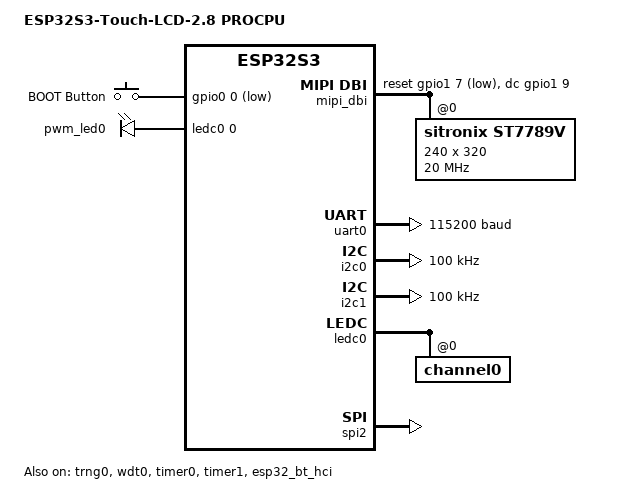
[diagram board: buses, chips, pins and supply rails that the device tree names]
/*
 * Copyright (c) 2025 Harry Jiang
 * SPDX-License-Identifier: Apache-2.0
 */

/dts-v1/;

#include <espressif/esp32s3/esp32s3_r8.dtsi>
#include "esp32s3_touch_lcd_2_8-pinctrl.dtsi"
#include <zephyr/dt-bindings/display/panel.h>
#include <zephyr/dt-bindings/input/input-event-codes.h>
#include <zephyr/dt-bindings/pwm/pwm.h>
#include <espressif/partitions_0x0_amp_16M.dtsi>

/ {
	model = "ESP32S3-Touch-LCD-2.8 PROCPU";
	compatible = "waveshare,esp32s3-touch-lcd-2.8";

	aliases {
		i2c-0 = &i2c0;
		i2c-1 = &i2c1;
		pwm-0 = &ledc0;
		pwm-led0 = &pwm_led0;
		uart-0 = &uart0;
		watchdog0 = &wdt0;
		sw0 = &button0;
	};

	chosen {
		zephyr,sram = &sram1;
		zephyr,console = &uart0;
		zephyr,shell-uart = &uart0;
		zephyr,flash = &flash0;
		zephyr,code-partition = &slot0_partition;
		zephyr,display = &st7789v;
		zephyr,bt-hci = &esp32_bt_hci;
	};

	buttons {
		compatible = "gpio-keys";
		button0: button_0 {
			gpios = <&gpio0 0 (GPIO_PULL_UP | GPIO_ACTIVE_LOW)>;
			label = "BOOT Button";
			zephyr,code = <INPUT_KEY_0>;
		};
	};

	pwmleds {
		compatible = "pwm-leds";
		pwm_led0: pwm_led0 {
			pwms = <&ledc0 0 PWM_HZ(250) PWM_POLARITY_NORMAL>;
		};
	};

	mipi_dbi {
		compatible = "zephyr,mipi-dbi-spi";
		spi-dev = <&spi2>;
		dc-gpios = <&gpio1 9 GPIO_ACTIVE_HIGH>;	     /* G33 */
		reset-gpios = <&gpio1 7 GPIO_ACTIVE_LOW>;    /* G34 */
		write-only;
		#address-cells = <1>;
		#size-cells = <0>;

		st7789v: st7789v@0 {
			compatible = "sitronix,st7789v";
			reg = <0>;
			mipi-max-frequency = <20000000>;

			width = <240>;
			height = <320>;
			x-offset = <0>;
			y-offset = <0>;

			vcom = <0x1a>;
			gctrl = <0x75>;
			vrhs = <0x13>;
			vdvs = <0x20>;
			mdac = <0x00>;
			gamma = <0x01>;
			colmod = <0x05>;
			lcm = <0x2c>;
			porch-param = [0c 0c 00 33 33];
			cmd2en-param = [5a 69 02 00];
			pwctrl1-param = [a4 a1];
			pvgam-param = [d0 0d 14 0d 0d 09 38 44 4e 3a 17 18 2f 30];
			nvgam-param = [d0 09 0f 08 07 14 37 44 4d 38 15 16 2c 2e];
			ram-param = [00 E8];
			rgb-param = [40 02 14];
			mipi-mode = "MIPI_DBI_MODE_SPI_4WIRE";
		};

	};
};

&uart0 {
	status = "okay";
	current-speed = <115200>;
	pinctrl-0 = <&uart0_default>;
	pinctrl-names = "default";
};

&i2c0 {
	clock-frequency = <I2C_BITRATE_STANDARD>;
	pinctrl-0 = <&i2c0_default>;
	pinctrl-names = "default";
	status = "okay";
};

&i2c1 {
	clock-frequency = <I2C_BITRATE_STANDARD>;
	pinctrl-0 = <&i2c1_default>;
	pinctrl-names = "default";
	status = "okay";
};

&ledc0 {
	status = "okay";
	pinctrl-0 = <&ledc0_default>;
	pinctrl-names = "default";
	#address-cells = <1>;
	#size-cells = <0>;
	channel0@0 {
		reg = <0x0>;
		timer = <0>;
	};
};

&flash0 {
	reg = <0x0 DT_SIZE_M(16)>;
};

&gpio0 {
	status = "okay";
};

&gpio1 {
	status = "okay";
};

&spi2 {
	status = "okay";
	#address-cells = <1>;
	#size-cells = <0>;
	pinctrl-0 = <&spim2_default>;
	pinctrl-names = "default";
	cs-gpios = <&gpio1 10 GPIO_ACTIVE_LOW>;
};

&trng0 {
	status = "okay";
};

&wdt0 {
	status = "okay";
};

&timer0 {
	status = "okay";
};

&timer1 {
	status = "okay";
};

&esp32_bt_hci {
	status = "okay";
}; 
